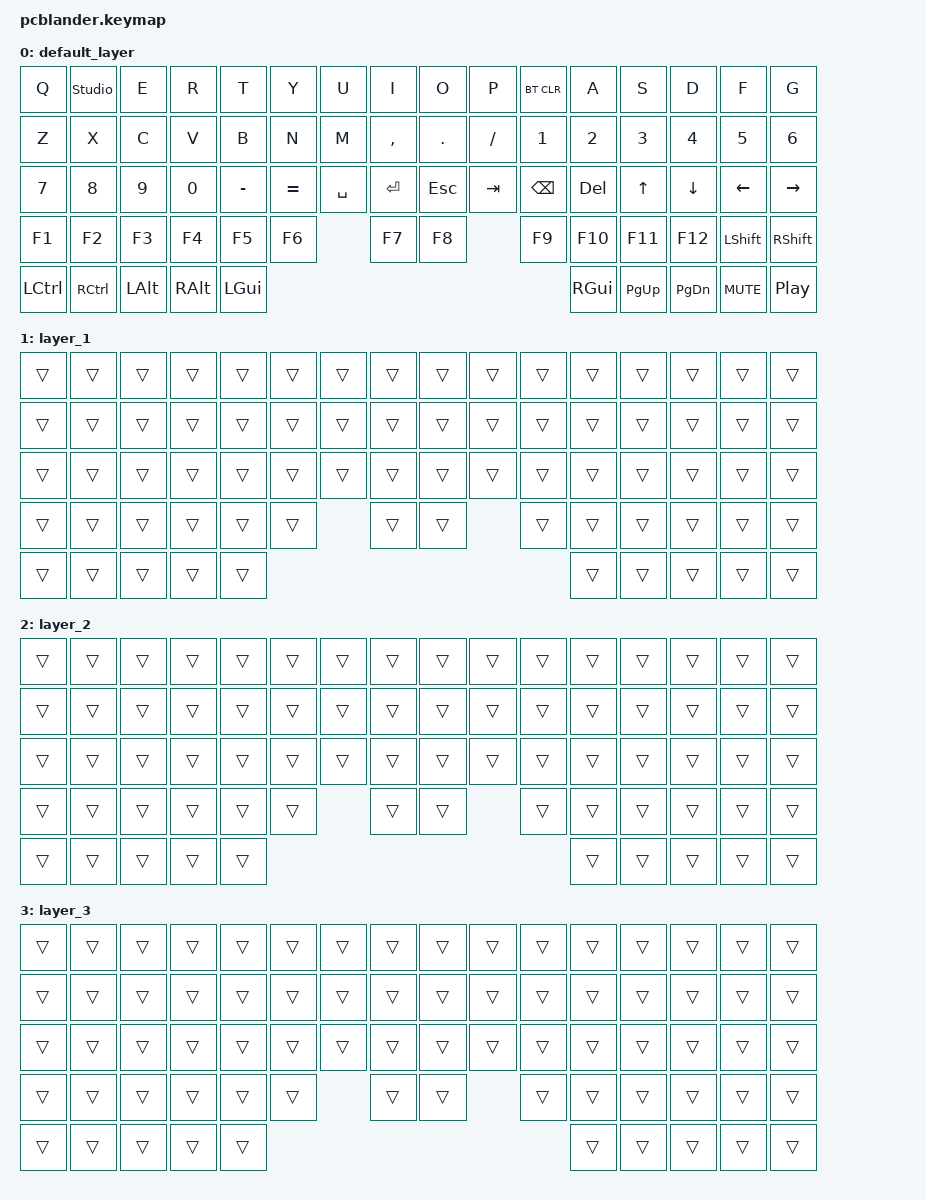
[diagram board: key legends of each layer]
#include <behaviors.dtsi>
#include <dt-bindings/zmk/keys.h>
#include <dt-bindings/zmk/bt.h>

/ {
    keymap {
        compatible = "zmk,keymap";

        default_layer {
            // S43 (BT_CLR) está na RC(0,10) - Lado Direito
            bindings = <
                &kp Q      &studio_unlock &kp E      &kp R      &kp T      &kp Y      &kp U      &kp I
                &kp O      &kp P      &bt BT_CLR &kp A      &kp S      &kp D      &kp F      &kp G
                
                &kp Z      &kp X      &kp C      &kp V      &kp B      &kp N      &kp M      &kp COMMA
                &kp DOT    &kp SLASH  &kp N1     &kp N2     &kp N3     &kp N4     &kp N5     &kp N6
                
                &kp N7     &kp N8     &kp N9     &kp N0     &kp MINUS  &kp EQUAL  &kp SPACE  &kp ENTER
                &kp ESC    &kp TAB    &kp BSPC   &kp DEL    &kp UP     &kp DOWN   &kp LEFT   &kp RIGHT
                
                &kp F1     &kp F2     &kp F3     &kp F4     &kp F5     &kp F6     &kp F7     
                &kp F8     &kp F9     &kp F10    &kp F11    &kp F12    &kp LSHFT  &kp RSHFT
                
                &kp LCTRL  &kp RCTRL  &kp LALT   &kp RALT   &kp LGUI   
                &kp RGUI   &kp PG_UP  &kp PG_DN  &kp K_MUTE &kp C_PP
            >;
        };

        layer_1 {
            bindings = <
                &trans &trans &trans &trans &trans &trans &trans &trans   &trans &trans &trans &trans &trans &trans &trans &trans
                &trans &trans &trans &trans &trans &trans &trans &trans   &trans &trans &trans &trans &trans &trans &trans &trans
                &trans &trans &trans &trans &trans &trans &trans &trans   &trans &trans &trans &trans &trans &trans &trans &trans
                &trans &trans &trans &trans &trans &trans &trans          &trans &trans &trans &trans &trans &trans &trans
                &trans &trans &trans &trans &trans                        &trans &trans &trans &trans &trans
            >;
        };

        layer_2 {
            bindings = <
                &trans &trans &trans &trans &trans &trans &trans &trans   &trans &trans &trans &trans &trans &trans &trans &trans
                &trans &trans &trans &trans &trans &trans &trans &trans   &trans &trans &trans &trans &trans &trans &trans &trans
                &trans &trans &trans &trans &trans &trans &trans &trans   &trans &trans &trans &trans &trans &trans &trans &trans
                &trans &trans &trans &trans &trans &trans &trans          &trans &trans &trans &trans &trans &trans &trans
                &trans &trans &trans &trans &trans                        &trans &trans &trans &trans &trans
            >;
        };

        layer_3 {
            bindings = <
                &trans &trans &trans &trans &trans &trans &trans &trans   &trans &trans &trans &trans &trans &trans &trans &trans
                &trans &trans &trans &trans &trans &trans &trans &trans   &trans &trans &trans &trans &trans &trans &trans &trans
                &trans &trans &trans &trans &trans &trans &trans &trans   &trans &trans &trans &trans &trans &trans &trans &trans
                &trans &trans &trans &trans &trans &trans &trans          &trans &trans &trans &trans &trans &trans &trans
                &trans &trans &trans &trans &trans                        &trans &trans &trans &trans &trans
            >;
        };
    };
};
